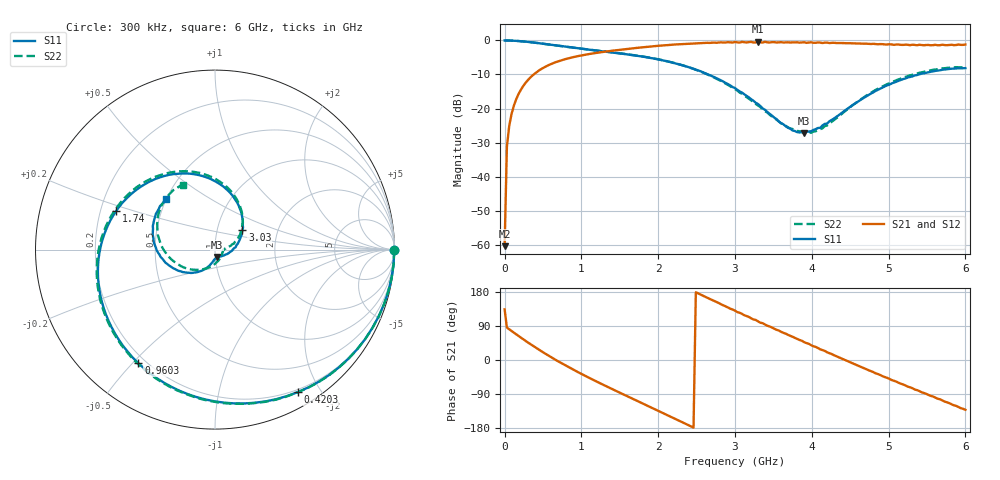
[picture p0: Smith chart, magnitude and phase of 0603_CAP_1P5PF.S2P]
!Agilent Technologies,E5071C,MY46106283,A.09.10
!Date: Tue Jan 23 23:43:19 2001
!Data & Calibration Information:
!Freq	S11:SOLT2(ON)	S41:SOLT2(ON)	S14:SOLT2(ON)	S44:SOLT2(ON)
# Hz S dB R 50
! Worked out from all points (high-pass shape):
!   201 points, 300 kHz to 6 GHz, reference 50 ohm
!   highest |S21| = -0.37 dB at 3.3 GHz (marker M1); lowest = -60.4 dB at 300 kHz (marker M2)
!   |S21| within 3 dB of the highest: 1.285 GHz to end of sweep
!   lowest |S11| = -27.3 dB at 3.9 GHz (marker M3), VSWR 1.09, Z = 51.1 - j4.24 ohm
!   |S11| at or under -10 dB: 2.654 GHz to 5.395 GHz (2.742 GHz wide, 68.1 % of centre)
!   |S22| runs from -27.2 to 0.0 dB; largest |S21 - S12| = 0.014
!   S11 on the Smith chart (normalised r, x): 300 kHz: open; 420.3 MHz: 0.17, -1.72; 960.3 MHz: 0.17, -0.52; 1.74 GHz: 0.26, +0.17; 3.03 GHz: 1.32, +0.30; 6 GHz: 0.50, +0.33
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300000  -0.02 -0.1  -60.42 133.6  -61.25 -131.4  -0.01 -0.1
3.02985e7  -0.01 -4.6  -31.14 85.5  -31.09 85.2  -0.01 -4.6
6.0297e7  -0.03 -9.0  -25.13 81.0  -25.15 81.1  -0.03 -9.1
1.80291e8  -0.18 -26.6  -15.80 63.5  -15.80 63.6  -0.18 -26.8
4.20279e8  -0.74 -59.9  -9.29 30.7  -9.28 30.6  -0.74 -60.4
6.60267e8  -1.46 -90.1  -6.43 0.8  -6.43 0.8  -1.44 -90.8
9.60252e8  -2.34 -124.0  -4.59 -32.5  -4.59 -32.6  -2.32 -125.0
1.020249e9  -2.51 -130.4  -4.31 -38.7  -4.32 -38.8  -2.48 -131.4
1.380231e9  -3.48 -166.7  -3.09 -74.7  -3.10 -74.8  -3.44 -168.4
1.740213e9  -4.56 158.8  -2.17 -109.2  -2.18 -109.2  -4.52 156.3
2.0102e9  -5.62 133.2  -1.57 -135.0  -1.58 -135.0  -5.57 129.9
2.490176e9  -8.57 87.7  -0.84 178.8  -0.85 178.8  -8.61 83.5
3.00015e9  -14.00 38.5  -0.45 130.2  -0.46 130.5  -14.29 38.1
3.030148e9  -14.50 35.7  -0.57 126.4  -0.51 126.5  -14.74 36.3
3.300135e9  -18.69 6.8  -0.37 102.1  -0.41 102.2  -19.11 17.6
3.60012e9  -24.29 -30.9  -0.50 74.5  -0.47 74.3  -24.35 7.2
3.900105e9  -27.28 -73.5  -0.54 47.2  -0.54 47.1  -27.01 -11.3
4.020099e9  -26.30 -84.7  -0.70 36.4  -0.64 36.3  -26.76 -28.7
4.500075e9  -19.50 -112.8  -0.83 -6.0  -0.85 -6.1  -19.61 -108.3
5.01005e9  -12.99 -147.1  -1.13 -49.7  -1.11 -49.6  -12.57 -162.9
5.520024e9  -9.31 173.6  -1.34 -92.2  -1.26 -92.4  -8.90 153.5
6e9  -8.14 133.8  -1.20 -131.4  -1.17 -132.2  -7.87 116.4
